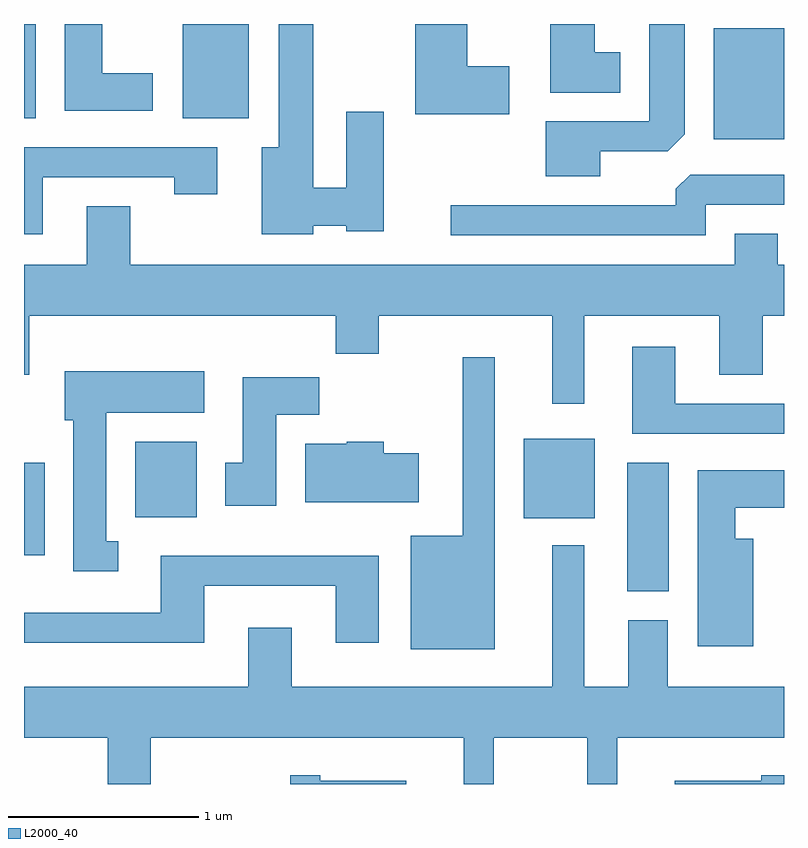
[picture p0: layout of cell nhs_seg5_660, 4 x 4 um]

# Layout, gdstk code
import gdstk
lib = gdstk.Library(unit=1e-6, precision=1e-09)
def R(c, l, rs):  # rectangles x0, y0, x1, y1
    for r in rs: c.add(gdstk.rectangle(r[:2], r[2:], *l))
def P(c, l, *ps):  # polygons
    for p in ps: c.add(gdstk.Polygon(p, *l))
L2000_40 = (2000, 40)

nhs_seg5_660 = lib.new_cell('nhs_seg5_660')
R(nhs_seg5_660, L2000_40, [(206.786,1493.086,207.004,1493.764), (203.611,1493.276,203.719,1493.764), (206.241,1493.471,206.614,1493.889), (204.196,1493.476,204.519,1493.874), (207.241,1495.466,207.611,1496.049), (203.611,1495.576,203.674,1496.072), (204.446,1495.576,204.794,1496.072)])
P(nhs_seg5_660, L2000_40, [(206.644,1495.401),(206.999,1495.401),(207.089,1495.492),(207.089,1496.072),(206.901,1496.072),(206.901,1495.559),(206.356,1495.559),(206.356,1495.271),(206.644,1495.271)],
  [(205.134,1495.011),(205.306,1495.011),(205.306,1494.981),(205.504,1494.981),(205.504,1495.609),(205.306,1495.609),(205.306,1495.209),(205.134,1495.209),(205.134,1496.072),(204.951,1496.072),(204.951,1495.424),(204.861,1495.424),(204.861,1494.966),(205.134,1494.966)],
  [(206.164,1495.849),(205.944,1495.849),(205.944,1496.072),(205.671,1496.072),(205.671,1495.596),(206.164,1495.596)],
  [(204.289,1495.814),(204.024,1495.814),(204.024,1496.072),(203.826,1496.072),(203.826,1495.616),(204.289,1495.616)],
  [(206.749,1495.924),(206.614,1495.924),(206.614,1496.072),(206.381,1496.072),(206.381,1495.711),(206.749,1495.711)],
  [(203.709,1495.266),(204.401,1495.266),(204.401,1495.176),(204.629,1495.176),(204.629,1495.424),(203.611,1495.424),(203.611,1494.966),(203.709,1494.966)],
  [(207.199,1495.121),(207.611,1495.121),(207.611,1495.279),(207.117,1495.279),(207.041,1495.204),(207.041,1495.119),(205.858,1495.119),(205.858,1494.961),(207.199,1494.961)],
  [(206.559,1494.536),(207.271,1494.536),(207.271,1494.226),(207.499,1494.226),(207.499,1494.536),(207.611,1494.536),(207.611,1494.804),(207.579,1494.804),(207.579,1494.969),(207.351,1494.969),(207.351,1494.804),(204.169,1494.804),(204.169,1495.114),(203.941,1495.114),(203.941,1494.804),(203.611,1494.804),(203.611,1494.226),(203.639,1494.226),(203.639,1494.536),(205.251,1494.536),(205.251,1494.336),(205.479,1494.336),(205.479,1494.536),(206.391,1494.536),(206.391,1494.073),(206.559,1494.073)],
  [(207.611,1494.074),(207.039,1494.074),(207.039,1494.374),(206.811,1494.374),(206.811,1493.916),(207.611,1493.916)],
  [(206.089,1494.318),(205.921,1494.318),(205.921,1493.379),(205.646,1493.379),(205.646,1492.781),(206.089,1492.781)],
  [(204.108,1493.349),(204.044,1493.349),(204.044,1494.026),(204.559,1494.026),(204.559,1494.244),(203.826,1494.244),(203.826,1493.986),(203.871,1493.986),(203.871,1493.191),(204.108,1493.191)],
  [(204.939,1494.016),(205.164,1494.016),(205.164,1494.214),(204.761,1494.214),(204.761,1493.764),(204.671,1493.764),(204.671,1493.536),(204.939,1493.536)],
  [(205.689,1493.814),(205.504,1493.814),(205.504,1493.874),(205.31,1493.874),(205.31,1493.864),(205.091,1493.864),(205.091,1493.556),(205.689,1493.556)],
  [(207.449,1493.364),(207.354,1493.364),(207.354,1493.526),(207.611,1493.526),(207.611,1493.724),(207.156,1493.724),(207.156,1492.796),(207.449,1492.796)],
  [(204.279,1492.316),(205.926,1492.316),(205.926,1492.072),(206.084,1492.072),(206.084,1492.316),(206.576,1492.316),(206.576,1492.072),(206.734,1492.072),(206.734,1492.316),(207.611,1492.316),(207.611,1492.584),(206.999,1492.584),(206.999,1492.934),(206.791,1492.934),(206.791,1492.584),(206.559,1492.584),(206.559,1493.328),(206.391,1493.328),(206.391,1492.584),(205.019,1492.584),(205.019,1492.894),(204.791,1492.894),(204.791,1492.584),(203.611,1492.584),(203.611,1492.316),(204.051,1492.316),(204.051,1492.072),(204.279,1492.072)],
  [(204.559,1493.116),(205.251,1493.116),(205.251,1492.816),(205.479,1492.816),(205.479,1493.274),(204.331,1493.274),(204.331,1492.974),(203.611,1492.974),(203.611,1492.816),(204.559,1492.816)],
  [(205.624,1492.089),(205.169,1492.089),(205.169,1492.119),(205.011,1492.119),(205.011,1492.072),(205.624,1492.072)],
  [(207.611,1492.119),(207.491,1492.119),(207.491,1492.089),(207.036,1492.089),(207.036,1492.072),(207.611,1492.072)])

lib.write_gds('nhs_seg5_660.gds')
